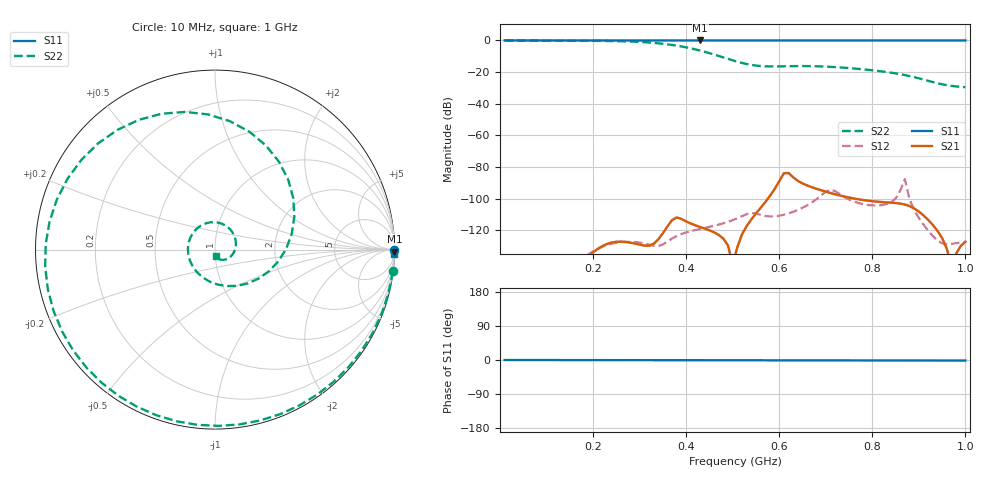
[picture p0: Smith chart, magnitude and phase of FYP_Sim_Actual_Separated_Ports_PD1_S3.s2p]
! Touchstone file from project FYP_Sim_Actual_Separated_Ports
! Exported from HFSS 13.0.2
# GHZ S MA R 50.000000
! Terminal data exported
! Port[1] = PD1_Void_Port_T1
! Port[2] = Radiating_Plate_T1
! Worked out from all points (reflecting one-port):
!   100 points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, 10 MHz to 1 GHz, reference 50 ohm
!   lowest |S11| = 0.0 dB at 430 MHz (marker M1)
!   phase of S11 starts at -0 deg and turns -1 deg over the sweep
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0.01  1 -0.0  7.299e-11 146.5  7.299e-11 146.5  0.9984 -7.0
0.05  1 -0.1  1.863e-09 -3.5  1.863e-09 -3.5  0.9923 -34.4
0.1  1 -0.1  1.919e-08 160.2  1.919e-08 160.2  0.986 -68.5
0.14  1 -0.2  2.557e-08 -108.1  4.531e-08 -119.0  0.9812 -95.7
0.18  1 -0.3  1.127e-07 -57.1  1.382e-07 -65.2  0.9761 -123.4
0.22  1 -0.3  3.17e-07 -13.9  3.053e-07 -13.2  0.9663 -151.9
0.26  1 -0.4  4.397e-07 40.8  4.23e-07 40.3  0.9437 178.2
0.3  1 -0.4  3.544e-07 92.3  4.107e-07 95.7  0.8971 146.2
0.34  1 -0.5  5.155e-07 -167.1  3.186e-07 -159.3  0.8132 111.5
0.36  1 -0.5  1.34e-06 -115.8  4.456e-07 -85.9  0.7543 93.0
0.39  1 -0.6  2.291e-06 -11.3  7.67e-07 -19.5  0.6455 63.9
0.41  1 -0.6  1.639e-06 18.2  9.429e-07 7.2  0.5635 43.6
0.43  1 -0.6  1.275e-06 31.1  1.106e-06 27.5  0.4791 22.7
0.47  1 -0.7  7.197e-07 43.7  1.521e-06 62.3  0.324 -21.9
0.51  1 -0.7  2.925e-07 -148.2  2.412e-06 110.6  0.2135 -72.2
0.55  1 -0.8  3.388e-06 -137.2  3.403e-06 -135.7  0.1608 -128.8
0.58  1 -0.8  1.218e-05 -134.4  2.743e-06 -57.3  0.1512 -169.5
0.67  1 -1.0  2.31e-05 -27.3  7.599e-06 33.6  0.1541 99.1
0.75  1 -1.1  1.089e-05 -51.3  9.468e-06 179.7  0.1339 38.8
0.84  1 -1.2  7.502e-06 -37.4  7.755e-06 -153.9  0.0961 -22.9
0.95  1 -1.4  5.702e-07 49.0  3.89e-07 -50.1  0.04127 -77.8
1  1 -1.4  4.347e-07 -103.2  4.347e-07 -103.2  0.03347 -83.2
